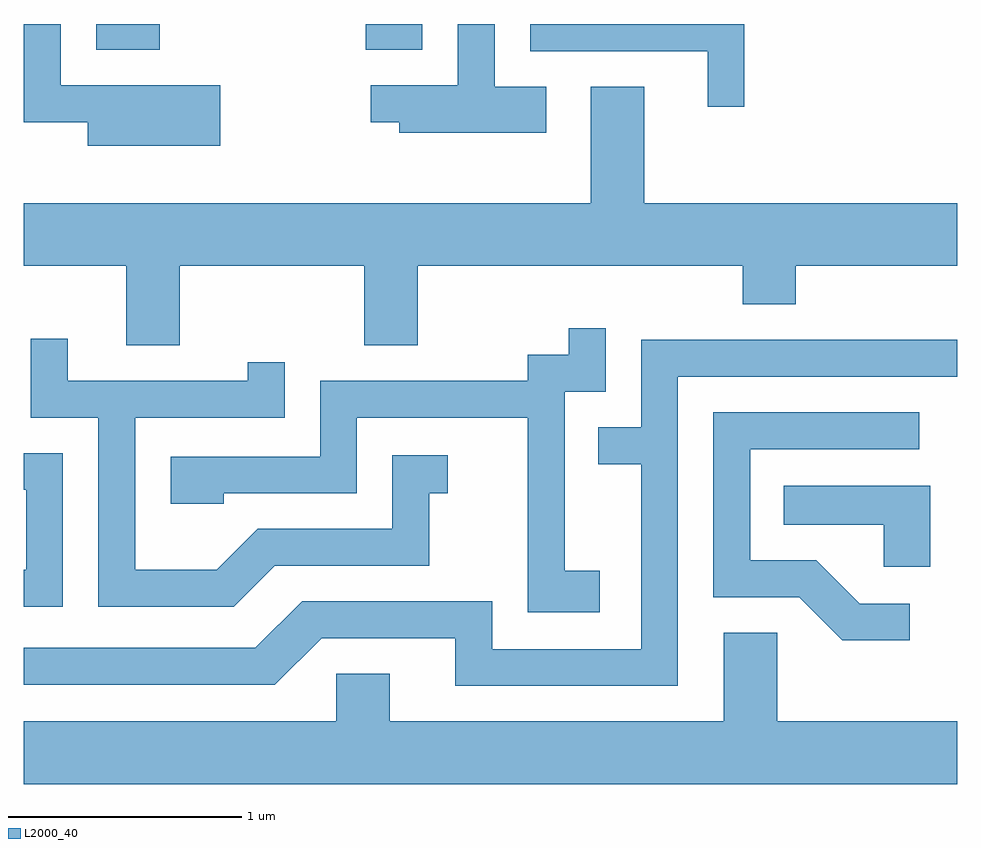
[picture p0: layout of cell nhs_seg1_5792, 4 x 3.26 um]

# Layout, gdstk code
import gdstk
lib = gdstk.Library(unit=1e-6, precision=1e-09)
def R(c, l, rs):  # rectangles x0, y0, x1, y1
    for r in rs: c.add(gdstk.rectangle(r[:2], r[2:], *l))
def P(c, l, *ps):  # polygons
    for p in ps: c.add(gdstk.Polygon(p, *l))
L2000_40 = (2000, 40)

nhs_seg1_5792 = lib.new_cell('nhs_seg1_5792')
R(nhs_seg1_5792, L2000_40, [(359.921,911.601,360.194,911.712), (361.076,911.601,361.319,911.712)])
P(nhs_seg1_5792, L2000_40, [(361.849,911.444),(361.629,911.444),(361.629,911.712),(361.471,911.712),(361.471,911.449),(361.098,911.449),(361.098,911.291),(361.221,911.291),(361.221,911.246),(361.849,911.246)],
  [(362.699,911.712),(361.781,911.712),(361.781,911.596),(362.541,911.596),(362.541,911.358),(362.699,911.358)],
  [(360.454,911.449),(359.769,911.449),(359.769,911.712),(359.611,911.712),(359.611,911.291),(359.886,911.291),(359.886,911.191),(360.454,911.191)],
  [(360.279,910.676),(361.071,910.676),(361.071,910.336),(361.299,910.336),(361.299,910.676),(362.691,910.676),(362.691,910.511),(362.919,910.511),(362.919,910.676),(363.611,910.676),(363.611,910.944),(362.269,910.944),(362.269,911.444),(362.041,911.444),(362.041,910.944),(359.611,910.944),(359.611,910.676),(360.051,910.676),(360.051,910.336),(360.279,910.336)],
  [(362.079,909.369),(361.929,909.369),(361.929,910.136),(362.104,910.136),(362.104,910.408),(361.946,910.408),(361.946,910.294),(361.771,910.294),(361.771,910.184),(360.881,910.184),(360.881,909.859),(360.241,909.859),(360.241,909.656),(360.469,909.656),(360.469,909.701),(361.039,909.701),(361.039,910.026),(361.771,910.026),(361.771,909.191),(362.079,909.191)],
  [(360.687,909.391),(361.349,909.391),(361.349,909.701),(361.428,909.701),(361.428,909.864),(361.191,909.864),(361.191,909.549),(360.614,909.549),(360.439,909.374),(360.089,909.374),(360.089,910.026),(360.729,910.026),(360.729,910.263),(360.571,910.263),(360.571,910.184),(359.799,910.184),(359.799,910.363),(359.641,910.363),(359.641,910.026),(359.931,910.026),(359.931,909.216),(360.512,909.216)],
  [(362.414,910.201),(363.611,910.201),(363.611,910.359),(362.256,910.359),(362.256,909.984),(362.073,909.984),(362.073,909.826),(362.256,909.826),(362.256,909.034),(361.619,909.034),(361.619,909.239),(360.804,909.239),(360.604,909.039),(359.611,909.039),(359.611,908.881),(360.687,908.881),(360.887,909.081),(361.461,909.081),(361.461,908.876),(362.414,908.876)],
  [(363.408,909.229),(363.192,909.229),(363.007,909.414),(362.724,909.414),(362.724,909.891),(363.448,909.891),(363.448,910.049),(362.566,910.049),(362.566,909.256),(362.934,909.256),(363.119,909.071),(363.408,909.071)],
  [(359.779,909.874),(359.611,909.874),(359.611,909.716),(359.621,909.716),(359.621,909.374),(359.611,909.374),(359.611,909.216),(359.779,909.216)],
  [(363.494,909.734),(362.868,909.734),(362.868,909.566),(363.296,909.566),(363.296,909.386),(363.494,909.386)],
  [(363.611,908.724),(362.839,908.724),(362.839,909.104),(362.611,909.104),(362.611,908.724),(361.179,908.724),(361.179,908.929),(360.951,908.929),(360.951,908.724),(359.611,908.724),(359.611,908.456),(363.611,908.456)])

lib.write_gds('nhs_seg1_5792.gds')
